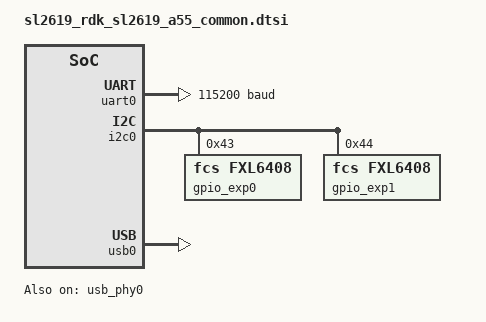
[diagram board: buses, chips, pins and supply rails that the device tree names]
/*
 * Copyright (c) 2026 Synaptics Incorporated
 * Author: Jisheng Zhang <jszhang@kernel.org>
 *
 * SPDX-License-Identifier: Apache-2.0
 */

#include "syna/sl2619_a55.dtsi"
#include <syna/astra_sl/sl261x/sl261x_pinctrl.dtsi>

/ {
	aliases {
		i2c-0 = &i2c0;
	};
};

&cpupll {
	dm = <1>;
	dn = <51>;
	frac = <0>;
	dp0 = <2>;
	dp1 = <3>;
};

&syspll0 {
	dm = <1>;
	dn = <42>;
	frac = <0>;
	dp0 = <3>;
	dp1 = <7>;
};

&syspll1 {
	dm = <1>;
	dn = <40>;
	frac = <0>;
	dp0 = <2>;
	dp1 = <5>;
};

&uart0 {
	status = "okay";
	current-speed = <115200>;
};

&i2c0 {
	status = "okay";

	gpio_exp0: gpio@43 {
		compatible = "fcs,fxl6408";
		reg = <0x43>;
		gpio-controller;
		#gpio-cells = <2>;
	};

	gpio_exp1: gpio@44 {
		compatible = "fcs,fxl6408";
		reg = <0x44>;
		gpio-controller;
		#gpio-cells = <2>;
	};
};

&usb_phy0 {
	status = "okay";
};

zephyr_udc0: &usb0 {
	status = "okay";
};
